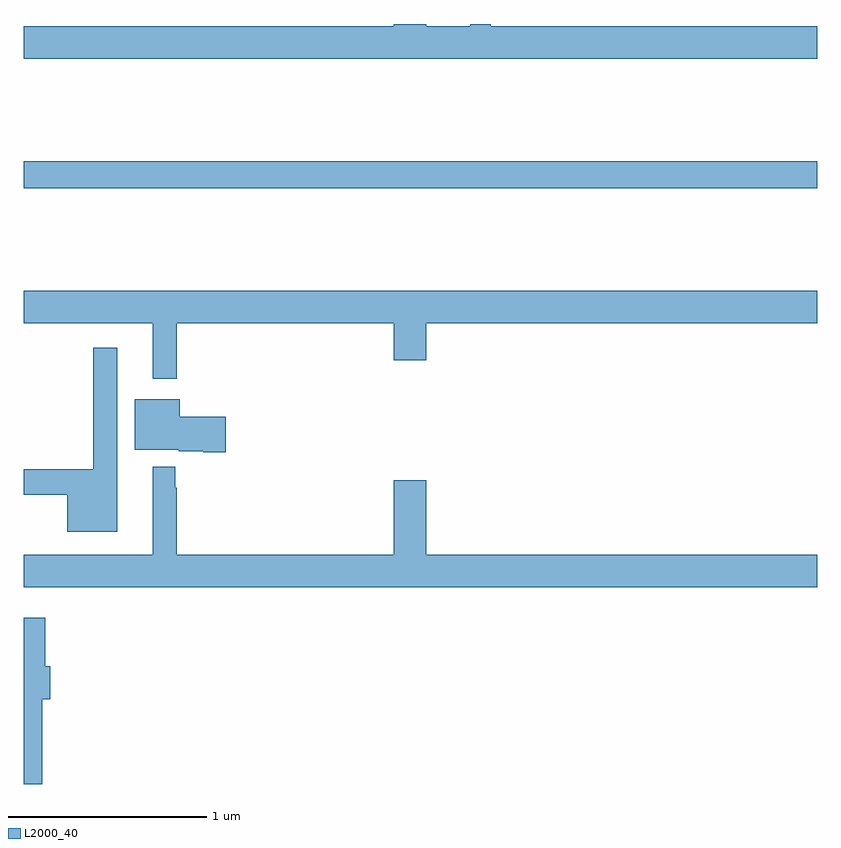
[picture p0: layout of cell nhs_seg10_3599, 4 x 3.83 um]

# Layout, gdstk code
import gdstk
lib = gdstk.Library(unit=1e-6, precision=1e-09)
def R(c, l, rs):  # rectangles x0, y0, x1, y1
    for r in rs: c.add(gdstk.rectangle(r[:2], r[2:], *l))
def P(c, l, *ps):  # polygons
    for p in ps: c.add(gdstk.Polygon(p, *l))
L2000_40 = (2000, 40)

nhs_seg10_3599 = lib.new_cell('nhs_seg10_3599')
R(nhs_seg10_3599, L2000_40, [(307,1291.672,311,1291.808)])
P(nhs_seg10_3599, L2000_40, [(311,1292.488),(309.355,1292.488),(309.355,1292.5),(309.251,1292.5),(309.251,1292.488),(309.028,1292.488),(309.028,1292.5),(308.864,1292.5),(308.864,1292.488),(307,1292.488),(307,1292.324),(311,1292.324)],
  [(307.771,1290.992),(308.864,1290.992),(308.864,1290.804),(309.028,1290.804),(309.028,1290.992),(311,1290.992),(311,1291.156),(307,1291.156),(307,1290.992),(307.649,1290.992),(307.649,1290.711),(307.771,1290.711)],
  [(307.471,1290.868),(307.35,1290.868),(307.35,1290.254),(307,1290.254),(307,1290.126),(307.22,1290.126),(307.22,1289.939),(307.471,1289.939)],
  [(308.017,1290.519),(307.786,1290.519),(307.786,1290.607),(307.559,1290.607),(307.559,1290.353),(307.782,1290.353),(307.782,1290.347),(307.904,1290.347),(307.904,1290.341),(308.017,1290.341)],
  [(311,1289.824),(309.028,1289.824),(309.028,1290.199),(308.864,1290.199),(308.864,1289.824),(307.771,1289.824),(307.771,1290.161),(307.763,1290.161),(307.763,1290.268),(307.649,1290.268),(307.649,1289.824),(307,1289.824),(307,1289.66),(311,1289.66)],
  [(307.094,1289.096),(307.133,1289.096),(307.133,1289.262),(307.109,1289.262),(307.109,1289.506),(307,1289.506),(307,1288.668),(307.094,1288.668)])

lib.write_gds('nhs_seg10_3599.gds')
